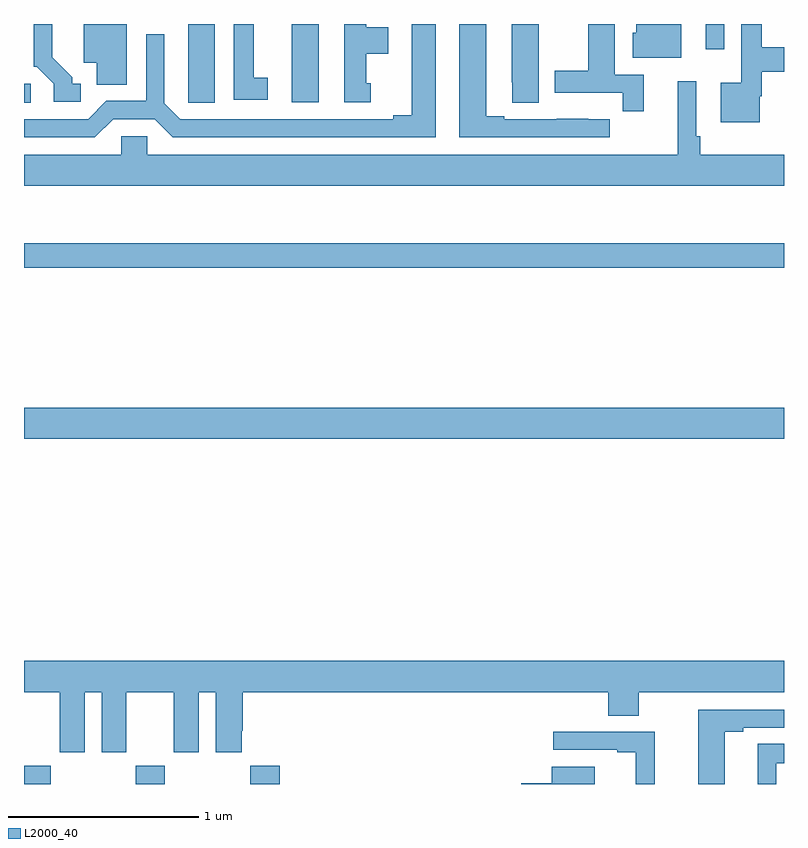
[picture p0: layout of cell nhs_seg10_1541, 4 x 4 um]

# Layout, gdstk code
import gdstk
lib = gdstk.Library(unit=1e-6, precision=1e-09)
def R(c, l, rs):  # rectangles x0, y0, x1, y1
    for r in rs: c.add(gdstk.rectangle(r[:2], r[2:], *l))
def P(c, l, *ps):  # polygons
    for p in ps: c.add(gdstk.Polygon(p, *l))
L2000_40 = (2000, 40)

nhs_seg10_1541 = lib.new_cell('nhs_seg10_1541')
R(nhs_seg10_1541, L2000_40, [(191,1298.5,191.142,1298.596), (191.587,1298.5,191.742,1298.596), (192.191,1298.5,192.347,1298.596), (191,1300.316,195,1300.48), (191,1301.218,195,1301.347), (191,1302.085,191.035,1302.186), (192.41,1302.087,192.55,1302.5), (194.588,1302.366,194.685,1302.5)])
P(nhs_seg10_1541, L2000_40, [(191.469,1302),(191.687,1302),(191.783,1301.904),(193.168,1301.904),(193.168,1302.5),(193.04,1302.5),(193.04,1302.02),(192.944,1302.02),(192.944,1302),(191.823,1302),(191.739,1302.084),(191.739,1302.445),(191.643,1302.445),(191.643,1302.096),(191.433,1302.096),(191.337,1302),(191,1302),(191,1301.904),(191.373,1301.904)],
  [(194.083,1302),(193.97,1302),(193.97,1302.001),(193.804,1302.001),(193.804,1302),(193.528,1302),(193.528,1302.015),(193.432,1302.015),(193.432,1302.5),(193.292,1302.5),(193.292,1301.904),(194.083,1301.904)],
  [(194.261,1302.234),(194.11,1302.234),(194.11,1302.5),(193.97,1302.5),(193.97,1302.255),(193.793,1302.255),(193.793,1302.138),(194.152,1302.138),(194.152,1302.042),(194.261,1302.042)],
  [(192.826,1302.189),(192.802,1302.189),(192.802,1302.344),(192.916,1302.344),(192.916,1302.484),(192.802,1302.484),(192.802,1302.5),(192.686,1302.5),(192.686,1302.087),(192.826,1302.087)],
  [(193.708,1302.5),(193.568,1302.5),(193.568,1302.193),(193.569,1302.193),(193.569,1302.085),(193.708,1302.085)],
  [(191.542,1302.5),(191.315,1302.5),(191.315,1302.296),(191.384,1302.296),(191.384,1302.181),(191.542,1302.181)],
  [(192.004,1302.5),(191.864,1302.5),(191.864,1302.193),(191.865,1302.193),(191.865,1302.085),(192.004,1302.085)],
  [(192.283,1302.218),(192.208,1302.218),(192.208,1302.5),(192.104,1302.5),(192.104,1302.102),(192.283,1302.102)],
  [(191.299,1302.186),(191.254,1302.186),(191.254,1302.221),(191.149,1302.326),(191.149,1302.5),(191.052,1302.5),(191.052,1302.276),(191.067,1302.276),(191.157,1302.186),(191.157,1302.09),(191.299,1302.09)],
  [(194.872,1302.12),(194.884,1302.12),(194.884,1302.248),(195,1302.248),(195,1302.378),(194.884,1302.378),(194.884,1302.5),(194.775,1302.5),(194.775,1302.19),(194.666,1302.19),(194.666,1301.984),(194.872,1301.984)],
  [(194.458,1302.5),(194.222,1302.5),(194.222,1302.453),(194.204,1302.453),(194.204,1302.323),(194.458,1302.323)],
  [(195,1301.812),(194.558,1301.812),(194.558,1301.908),(194.538,1301.908),(194.538,1302.199),(194.441,1302.199),(194.441,1301.812),(191.649,1301.812),(191.649,1301.91),(191.511,1301.91),(191.511,1301.812),(191,1301.812),(191,1301.648),(195,1301.648)],
  [(191.32,1298.984),(191.408,1298.984),(191.408,1298.667),(191.539,1298.667),(191.539,1298.984),(191.789,1298.984),(191.789,1298.667),(191.92,1298.667),(191.92,1298.984),(192.008,1298.984),(192.008,1298.667),(192.145,1298.667),(192.145,1298.779),(192.152,1298.779),(192.152,1298.984),(194.075,1298.984),(194.075,1298.86),(194.235,1298.86),(194.235,1298.984),(195,1298.984),(195,1299.148),(191,1299.148),(191,1298.984),(191.189,1298.984),(191.189,1298.667),(191.32,1298.667)],
  [(194.689,1298.776),(194.785,1298.776),(194.785,1298.796),(195,1298.796),(195,1298.892),(194.549,1298.892),(194.549,1298.5),(194.689,1298.5)],
  [(194.319,1298.775),(193.785,1298.775),(193.785,1298.679),(194.123,1298.679),(194.123,1298.667),(194.219,1298.667),(194.219,1298.5),(194.319,1298.5)],
  [(194.958,1298.61),(195,1298.61),(195,1298.711),(194.861,1298.711),(194.861,1298.5),(194.958,1298.5)],
  [(194.005,1298.59),(193.778,1298.59),(193.778,1298.503),(193.617,1298.503),(193.617,1298.5),(194.005,1298.5)])

lib.write_gds('nhs_seg10_1541.gds')
